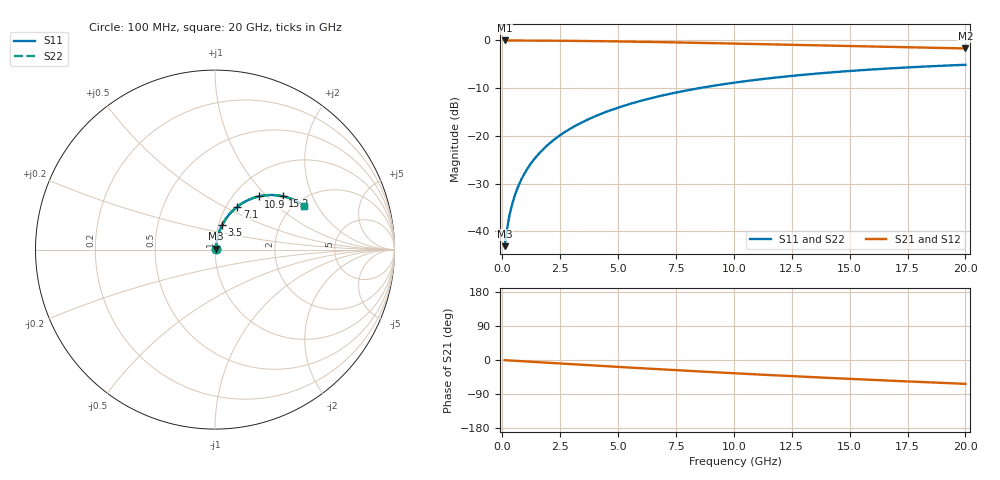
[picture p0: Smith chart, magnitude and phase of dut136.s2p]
! Touchstone file exported from HFSS 2026.1.0
!  File:  C:/ffzhzh/LocalFiles/Ansys_Project_Files/temp_train_TMRDL_136_1782982869_40604.aedt
!  Generated:  05:02:36 PM Jul  2, 2026
!  Design:  TMRDL
!  Project:  temp_train_TMRDL_136_1782982869_40604
! Variables:
!  h_bsmrdl = 2um
!  h_ox = 20um
!  h_rdl = 5um
!  h_sub = 80um
!  h_tmrdl = 2.78um
!  h_tsv = 80um
!  h_via = 3um
!  l_bsmrdl = 300um
!  l_sub = 1363.62um
!  l_tmrdl = 963.62um
!  m_sub = 200um
!  pitch = 58.75um
!  r_tsv = 6um
!  s_tmrdl = 10um
!  w_bsmrdl = 18um
!  w_sub = 500um
!  w_tmrdl = 23.49um
!  x_tsv_center1 = 975.365um
!  x_tsv_center2 = 1293.365um
!  x_tsv_center3 = 2280.475um
!  x_tsv_center4 = 2598.475um
!  x_tsv_center5 = 3585.585um
!  x_tsv_center6 = 3903.585um
# GHz S MA R 50.000000
! Terminal data exported
! Port[1] = TM_RDL1_1_T1
! Port[2] = TM_RDL1_1_T2
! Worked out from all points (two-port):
!   200 points, 100 MHz to 20 GHz, reference 50 ohm
!   highest |S21| = -0.05 dB at 100 MHz (marker M1); lowest = -1.7 dB at 20 GHz (marker M2)
!   |S21| within 3 dB of the highest: start of sweep to end of sweep
!   lowest |S11| = -43.1 dB at 100 MHz (marker M3), VSWR 1.01, Z = 50.5 + j0.445 ohm
!   |S11| at or under -10 dB: start of sweep to 8.539 GHz
!   |S22| runs from -43.1 to -5.1 dB; largest |S21 - S12| = 8e-15
!   S11 on the Smith chart (normalised r, x): 100 MHz: 1.01, +0.01; 3.5 GHz: 1.04, +0.29; 7.1 GHz: 1.13, +0.58; 10.9 GHz: 1.29, +0.90; 15.2 GHz: 1.62, +1.25; 20 GHz: 2.24, +1.56
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0.1  0.006991 39.0  0.9946 -0.4  0.9946 -0.4  0.006991 39.0
! Gamma 0 0 0 0
! Port Impedance 50 0 50 0
0.2  0.01042 56.7  0.9944 -0.8  0.9944 -0.8  0.01042 56.7
0.3  0.01427 64.7  0.9941 -1.2  0.9941 -1.2  0.01427 64.7
0.4  0.0182 69.0  0.9938 -1.5  0.9938 -1.5  0.0182 69.0
0.5  0.02214 71.6  0.9935 -1.9  0.9935 -1.9  0.02214 71.6
0.6  0.02608 73.4  0.9932 -2.3  0.9932 -2.3  0.02608 73.4
0.8  0.03397 75.7  0.9928 -3.0  0.9928 -3.0  0.03397 75.7
1.1  0.04586 77.3  0.9921 -4.1  0.9921 -4.1  0.04586 77.3
1.6  0.06575 77.9  0.9908 -5.9  0.9908 -5.9  0.06575 77.9
2.1  0.08562 77.4  0.9891 -7.8  0.9891 -7.8  0.08562 77.4
2.7  0.1093 76.1  0.9865 -10.0  0.9865 -10.0  0.1093 76.1
3.5  0.1404 74.0  0.9823 -12.9  0.9823 -12.9  0.1404 73.9
5  0.1968 69.3  0.9719 -18.2  0.9719 -18.2  0.1968 69.3
6.8  0.2602 63.5  0.9561 -24.4  0.9561 -24.4  0.2602 63.5
7.1  0.2703 62.5  0.9532 -25.5  0.9532 -25.5  0.2703 62.5
8.5  0.315 58.0  0.9388 -30.1  0.9388 -30.1  0.3151 58.0
10.1  0.3619 53.0  0.9212 -35.3  0.9212 -35.3  0.3619 53.0
10.9  0.3835 50.6  0.9122 -37.8  0.9122 -37.8  0.3835 50.6
13.4  0.4437 43.2  0.8841 -45.2  0.8841 -45.2  0.4437 43.2
15.2  0.4803 38.2  0.8647 -50.3  0.8647 -50.3  0.4803 38.2
16.7  0.5068 34.2  0.8495 -54.4  0.8495 -54.4  0.5068 34.2
20  0.5534 25.9  0.8203 -62.9  0.8203 -62.9  0.5534 25.8
